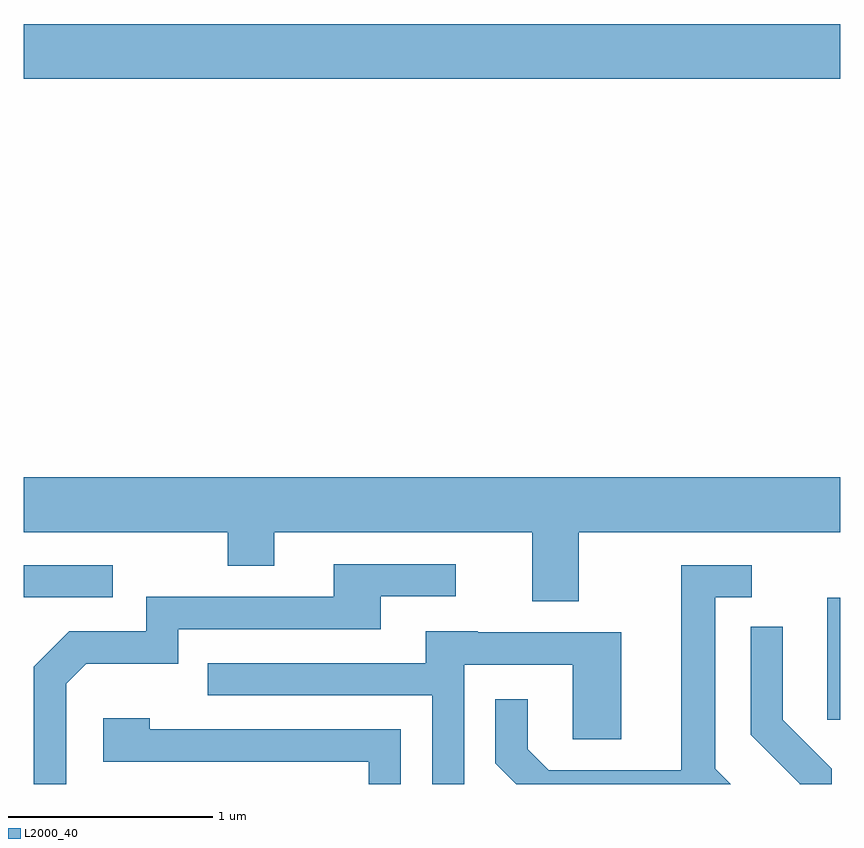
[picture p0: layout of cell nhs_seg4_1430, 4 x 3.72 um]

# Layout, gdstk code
import gdstk
lib = gdstk.Library(unit=1e-6, precision=1e-09)
def R(c, l, rs):  # rectangles x0, y0, x1, y1
    for r in rs: c.add(gdstk.rectangle(r[:2], r[2:], *l))
def P(c, l, *ps):  # polygons
    for p in ps: c.add(gdstk.Polygon(p, *l))
L2000_40 = (2000, 40)

nhs_seg4_1430 = lib.new_cell('nhs_seg4_1430')
R(nhs_seg4_1430, L2000_40, [(231.546,1258.296,231.611,1258.894), (227.611,1258.896,228.048,1259.054), (227.611,1261.436,231.611,1261.704)])
P(nhs_seg4_1430, L2000_40, [(230.329,1259.216),(231.611,1259.216),(231.611,1259.484),(227.611,1259.484),(227.611,1259.216),(228.611,1259.216),(228.611,1259.051),(228.839,1259.051),(228.839,1259.216),(230.101,1259.216),(230.101,1258.876),(230.329,1258.876)],
  [(227.819,1258.474),(227.917,1258.571),(228.369,1258.571),(228.369,1258.741),(229.359,1258.741),(229.359,1258.901),(229.728,1258.901),(229.728,1259.059),(229.131,1259.059),(229.131,1258.899),(228.211,1258.899),(228.211,1258.729),(227.834,1258.729),(227.661,1258.557),(227.661,1257.982),(227.819,1257.982)],
  [(230.999,1258.057),(230.999,1258.896),(231.178,1258.896),(231.178,1259.054),(230.831,1259.054),(230.831,1258.049),(230.182,1258.049),(230.079,1258.152),(230.079,1258.398),(229.921,1258.398),(229.921,1258.084),(230.023,1257.982),(231.074,1257.982)],
  [(231.569,1258.057),(231.329,1258.297),(231.329,1258.753),(231.171,1258.753),(231.171,1258.224),(231.411,1257.984),(231.411,1257.982),(231.569,1257.982)],
  [(229.769,1258.566),(230.301,1258.566),(230.301,1258.201),(230.539,1258.201),(230.539,1258.724),(229.835,1258.724),(229.835,1258.729),(229.581,1258.729),(229.581,1258.574),(228.513,1258.574),(228.513,1258.416),(229.611,1258.416),(229.611,1257.982),(229.769,1257.982)],
  [(229.459,1258.249),(228.229,1258.249),(228.229,1258.304),(228.001,1258.304),(228.001,1258.091),(229.301,1258.091),(229.301,1257.982),(229.459,1257.982)])

lib.write_gds('nhs_seg4_1430.gds')
